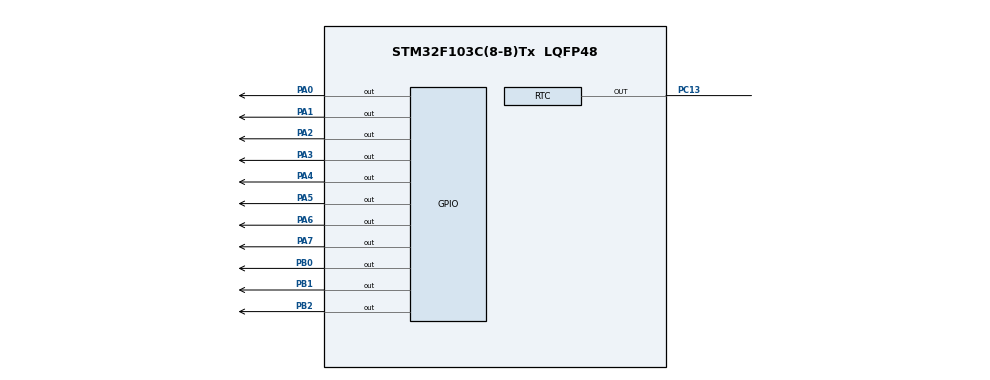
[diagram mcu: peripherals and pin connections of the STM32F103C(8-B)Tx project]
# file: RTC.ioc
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Mcu.Family=STM32F1
Mcu.Name=STM32F103C(8-B)Tx
Mcu.Package=LQFP48
NVIC.PriorityGroup=NVIC_PRIORITYGROUP_4
PA0-WKUP.Signal=GPIO_Output
PA1.Signal=GPIO_Output
PA13.Mode=Serial_Wire
PA13.Signal=SYS_JTMS-SWDIO
PA14.Mode=Serial_Wire
PA14.Signal=SYS_JTCK-SWCLK
PA2.Signal=GPIO_Output
PA3.Signal=GPIO_Output
PA4.Signal=GPIO_Output
PA5.Signal=GPIO_Output
PA6.Signal=GPIO_Output
PA7.Signal=GPIO_Output
PB0.Signal=GPIO_Output
PB1.Signal=GPIO_Output
PB2.Signal=GPIO_Output
PC13-TAMPER-RTC.Mode=RTC OUT
PC13-TAMPER-RTC.Signal=RTC_OUT
PD0-OSC_IN.Mode=HSE-External-Oscillator
PD0-OSC_IN.Signal=RCC_OSC_IN
PD1-OSC_OUT.Mode=HSE-External-Oscillator
PD1-OSC_OUT.Signal=RCC_OSC_OUT
ProjectManager.HeapSize=0x200
ProjectManager.StackSize=0x400
ProjectManager.TargetToolchain=MDK-ARM V5.32
RCC.APB1Freq_Value=8000000
RCC.APB2Freq_Value=8000000
RCC.RTCClockSelection=RCC_RTCCLKSOURCE_HSE_DIV128
RTC.Date=31
RTC.Format=RTC_FORMAT_BIN
RTC.Hours=23
RTC.Hours_A-RTC\ OUT=0
RTC.Minutes=58
RTC.Month=RTC_MONTH_DECEMBER
RTC.Seconds=11
RTC.Year=18
VP_RTC_VS_RTC_Activate.Mode=RTC_Enabled
VP_RTC_VS_RTC_Calendar.Mode=RTC_Calendar
board=custom

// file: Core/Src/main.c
/* USER CODE BEGIN Header */
/**
  ******************************************************************************
  * @file           : main.c
  * @brief          : Main program body
  ******************************************************************************
  * @attention
  *
  * Copyright (c) 2025 STMicroelectronics.
  * All rights reserved.
  *
  * This software is licensed under terms that can be found in the LICENSE file
  * in the root directory of this software component.
  * If no LICENSE file comes with this software, it is provided AS-IS.
  *
  ******************************************************************************
  */
/* USER CODE END Header */
#include "main.h"
#include "rtc.h"
#include "gpio.h"

/* USER CODE BEGIN Includes */
#include "lcd.h"
#include "stdio.h"
RTC_TimeTypeDef time;
RTC_DateTypeDef date;
/* USER CODE END Includes */

void SystemClock_Config(void);

int main(void)
{

  /* MCU Configuration--------------------------------------------------------*/

  /* Reset of all peripherals, Initializes the Flash interface and the Systick. */
  HAL_Init();

  /* Configure the system clock */
  SystemClock_Config();

  /* Initialize all configured peripherals */
  MX_GPIO_Init();
  MX_RTC_Init();

  /* Infinite loop */
  /* USER CODE BEGIN WHILE */
	lcd_init();
	char str[16];
  while (1)
  {
    /* USER CODE END WHILE */

    /* USER CODE BEGIN 3 */
		HAL_RTC_GetTime(&hrtc,&time,RTC_FORMAT_BIN);
		HAL_RTC_GetDate(&hrtc,&date,RTC_FORMAT_BIN);
		sprintf(str,"%2d:%2d:%2d",time.Hours,time.Minutes,time.Seconds);
		lcd_puts(str);
		lcd_gotoxy(0,1);
		sprintf(str,"%2d:%2d:%2d",date.Year,date.Month,date.Date);
		lcd_puts(str);
		HAL_Delay(100);
		lcd_clear();

  }
  /* USER CODE END 3 */
}

void SystemClock_Config(void)
{
  RCC_OscInitTypeDef RCC_OscInitStruct = {0};
  RCC_ClkInitTypeDef RCC_ClkInitStruct = {0};
  RCC_PeriphCLKInitTypeDef PeriphClkInit = {0};

  /** Initializes the RCC Oscillators according to the specified parameters
  * in the RCC_OscInitTypeDef structure.
  */
  RCC_OscInitStruct.OscillatorType = RCC_OSCILLATORTYPE_HSI|RCC_OSCILLATORTYPE_HSE;
  RCC_OscInitStruct.HSEState = RCC_HSE_ON;
  RCC_OscInitStruct.HSIState = RCC_HSI_ON;
  RCC_OscInitStruct.HSICalibrationValue = RCC_HSICALIBRATION_DEFAULT;
  RCC_OscInitStruct.PLL.PLLState = RCC_PLL_NONE;
  if (HAL_RCC_OscConfig(&RCC_OscInitStruct) != HAL_OK)
  {
    Error_Handler();
  }

  /** Initializes the CPU, AHB and APB buses clocks
  */
  RCC_ClkInitStruct.ClockType = RCC_CLOCKTYPE_HCLK|RCC_CLOCKTYPE_SYSCLK
                              |RCC_CLOCKTYPE_PCLK1|RCC_CLOCKTYPE_PCLK2;
  RCC_ClkInitStruct.SYSCLKSource = RCC_SYSCLKSOURCE_HSI;
  RCC_ClkInitStruct.AHBCLKDivider = RCC_SYSCLK_DIV1;
  RCC_ClkInitStruct.APB1CLKDivider = RCC_HCLK_DIV1;
  RCC_ClkInitStruct.APB2CLKDivider = RCC_HCLK_DIV1;

  if (HAL_RCC_ClockConfig(&RCC_ClkInitStruct, FLASH_LATENCY_0) != HAL_OK)
  {
    Error_Handler();
  }
  PeriphClkInit.PeriphClockSelection = RCC_PERIPHCLK_RTC;
  PeriphClkInit.RTCClockSelection = RCC_RTCCLKSOURCE_HSE_DIV128;
  if (HAL_RCCEx_PeriphCLKConfig(&PeriphClkInit) != HAL_OK)
  {
    Error_Handler();
  }
}

void Error_Handler(void)
{
  __disable_irq();
  while (1)
  {
  }
}
